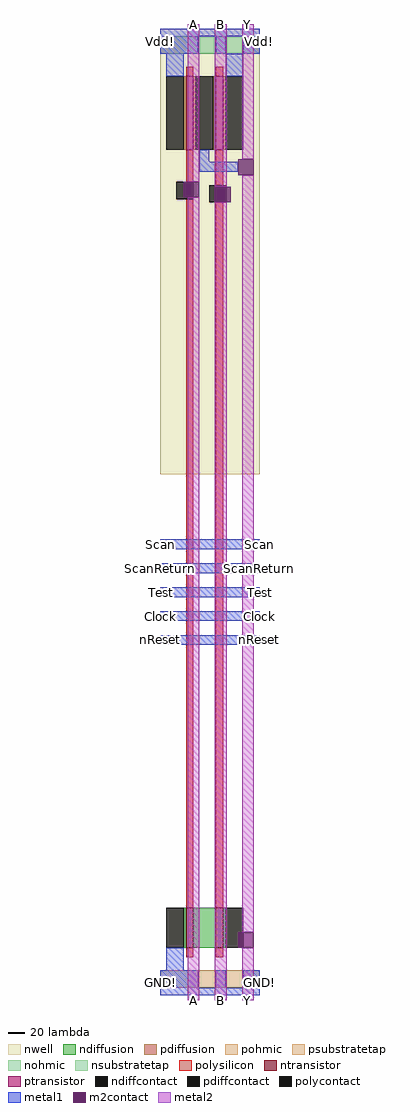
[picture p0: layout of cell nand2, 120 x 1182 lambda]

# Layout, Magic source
magic
tech tsmc180
<< nwell >>
rect 0 637 120 1176
<< polysilicon >>
rect 31 1119 40 1130
rect 67 1119 76 1130
rect 31 991 40 1030
rect 67 987 76 1030
rect 31 112 40 970
rect 67 112 76 966
rect 31 52 40 63
rect 67 52 76 63
<< ndiffusion >>
rect 28 63 31 112
rect 40 63 67 112
rect 76 63 79 112
<< pdiffusion >>
rect 28 1030 31 1119
rect 40 1030 43 1119
rect 64 1030 67 1119
rect 76 1030 79 1119
<< pohmic >>
rect 0 15 46 36
rect 67 15 79 36
rect 100 15 120 36
<< nohmic >>
rect 0 1146 46 1167
rect 67 1146 79 1167
rect 100 1146 120 1167
<< ntransistor >>
rect 31 63 40 112
rect 67 63 76 112
<< ptransistor >>
rect 31 1030 40 1119
rect 67 1030 76 1119
<< polycontact >>
rect 19 970 40 991
rect 59 966 80 987
<< ndiffcontact >>
rect 7 63 28 112
rect 79 63 100 112
<< pdiffcontact >>
rect 7 1030 28 1119
rect 43 1030 64 1119
rect 79 1030 100 1119
<< psubstratetap >>
rect 46 15 67 36
rect 79 15 100 36
<< nsubstratetap >>
rect 46 1146 67 1167
rect 79 1146 100 1167
<< metal1 >>
rect 0 1167 120 1176
rect 0 1146 46 1167
rect 67 1146 79 1167
rect 100 1146 120 1167
rect 7 1119 28 1146
rect 79 1119 100 1146
rect 47 1015 59 1030
rect 47 1003 94 1015
rect 0 546 120 558
rect 0 517 120 529
rect 0 488 120 500
rect 0 459 120 471
rect 0 430 120 442
rect 7 36 28 63
rect 0 15 46 36
rect 67 15 79 36
rect 100 15 120 36
rect 0 6 120 15
<< m2contact >>
rect 94 999 113 1018
rect 28 972 40 991
rect 40 972 47 991
rect 66 966 80 985
rect 80 966 85 985
rect 94 63 100 82
rect 100 63 113 82
<< metal2 >>
rect 33 991 47 1182
rect 33 0 47 972
rect 66 985 80 1182
rect 99 1018 113 1182
rect 66 0 80 966
rect 99 82 113 999
rect 99 0 113 63
<< labels >>
rlabel metal1 0 6 0 36 3 GND!
rlabel metal2 33 0 47 0 1 A
rlabel metal2 99 0 113 0 1 Y
rlabel metal1 120 6 120 36 7 GND!
rlabel metal2 66 0 80 0 1 B
rlabel metal1 120 430 120 442 7 nReset
rlabel metal1 120 459 120 471 7 Clock
rlabel metal1 120 488 120 500 7 Test
rlabel metal1 120 517 120 529 7 ScanReturn
rlabel metal1 120 546 120 558 7 Scan
rlabel metal1 0 546 0 558 3 Scan
rlabel metal1 0 517 0 529 3 ScanReturn
rlabel metal1 0 488 0 500 3 Test
rlabel metal1 0 459 0 471 3 Clock
rlabel metal1 0 430 0 442 3 nReset
rlabel metal1 0 1146 0 1176 3 Vdd!
rlabel metal2 33 1182 47 1182 5 A
rlabel metal2 99 1182 113 1182 5 Y
rlabel metal1 120 1146 120 1176 7 Vdd!
rlabel metal2 66 1182 80 1182 5 B
<< end >>
